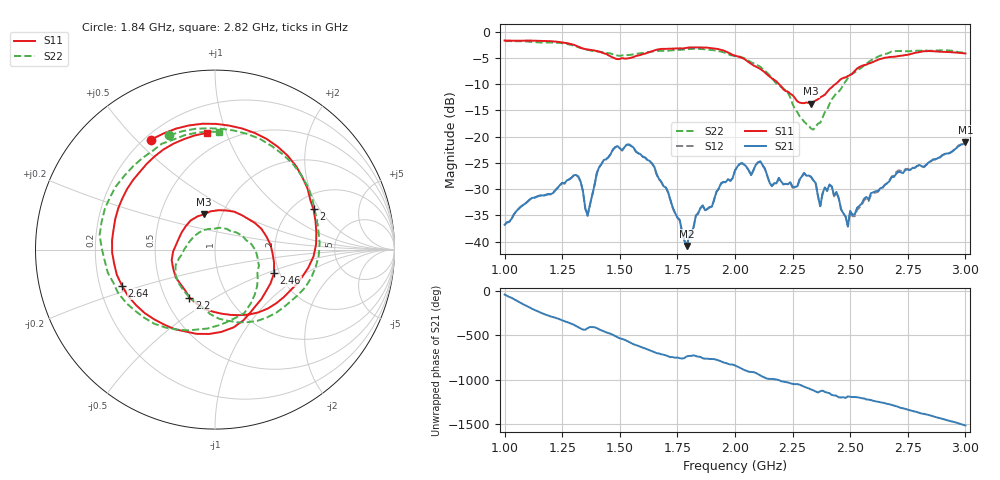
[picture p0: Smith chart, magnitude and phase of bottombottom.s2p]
#  HZ  S  DB  R  50.00
! Rohde & Schwarz ZVA40 4Ports - Version 4.11 - 1145.1110k42 SN: 100302
! Date: 2022-08-19 12:22:20
! Measurements: S11 S21 S12 S22
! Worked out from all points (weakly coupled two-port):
!   201 points, 1 GHz to 3 GHz, reference 50 ohm
!   highest |S21| = -21.07 dB at 3 GHz (marker M1); lowest = -40.8 dB at 1.79 GHz (marker M2)
!   lowest |S11| = -13.7 dB at 2.33 GHz (marker M3), VSWR 1.52, Z = 41.2 + j16.9 ohm
!   |S11| at or under -10 dB: 2.191 GHz to 2.435 GHz (244.2 MHz wide, 10.6 % of centre)
!   |S22| runs from -18.7 to -1.8 dB; largest |S21 - S12| = 0.0066
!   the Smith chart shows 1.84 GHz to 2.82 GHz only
!   S11 on the Smith chart (normalised r, x): 1.84 GHz: 0.22, +0.55; 2 GHz: 2.56, +1.77; 2.2 GHz: 0.66, -0.39; 2.46 GHz: 1.87, -0.56; 2.64 GHz: 0.29, -0.17; 2.82 GHz: 0.38, +0.86
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1e9  -1.67 17.8  -36.77 -36.0  -36.81 -35.0  -1.79 15.3
1.09e9  -1.70 -77.4  -32.73 -158.3  -32.77 -157.4  -1.85 -82.3
1.19e9  -1.79 -169.1  -30.93 84.5  -30.99 86.3  -2.06 -172.6
1.27e9  -2.18 124.8  -28.34 13.6  -28.41 15.5  -2.32 124.1
1.34e9  -3.21 73.2  -30.37 -72.6  -30.44 -71.0  -3.22 74.0
1.36e9  -3.38 60.1  -35.00 -57.6  -35.10 -55.9  -3.44 61.0
1.47e9  -4.91 -14.1  -22.46 -132.4  -22.49 -131.0  -4.28 -9.2
1.59e9  -4.43 -80.4  -23.37 92.3  -23.39 95.0  -4.10 -81.9
1.67e9  -3.35 -133.1  -28.04 16.0  -28.11 18.6  -3.66 -135.3
1.79e9  -3.08 151.7  -40.82 -17.9  -40.86 -15.5  -3.35 144.2
1.84e9  -2.99 120.3  -34.60 -19.9  -34.67 -18.8  -3.27 111.8
2e9  -4.54 22.2  -26.42 -120.2  -26.47 -118.7  -4.66 9.9
2.11e9  -7.11 -48.1  -24.70 126.3  -24.74 130.4  -6.71 -59.3
2.2e9  -10.37 -118.0  -28.52 61.1  -28.56 65.1  -10.51 -119.7
2.33e9  -13.74 106.9  -27.65 -32.3  -27.67 -28.4  -18.45 105.5
2.34e9  -13.37 96.8  -28.30 -41.9  -28.31 -38.1  -18.66 92.6
2.46e9  -9.01 -21.8  -33.76 -122.7  -33.83 -118.1  -10.89 -33.7
2.55e9  -6.54 -94.0  -32.75 -130.8  -33.04 -125.6  -6.83 -102.2
2.64e9  -5.10 -158.7  -29.69 177.5  -29.78 -176.4  -4.49 -162.2
2.67e9  -4.83 -178.4  -28.49 160.7  -28.36 167.8  -4.00 179.4
2.82e9  -3.71 94.0  -25.73 51.4  -25.82 56.7  -3.66 88.2
3e9  -4.15 -9.8  -21.07 -79.9  -21.04 -76.1  -4.04 -12.1
